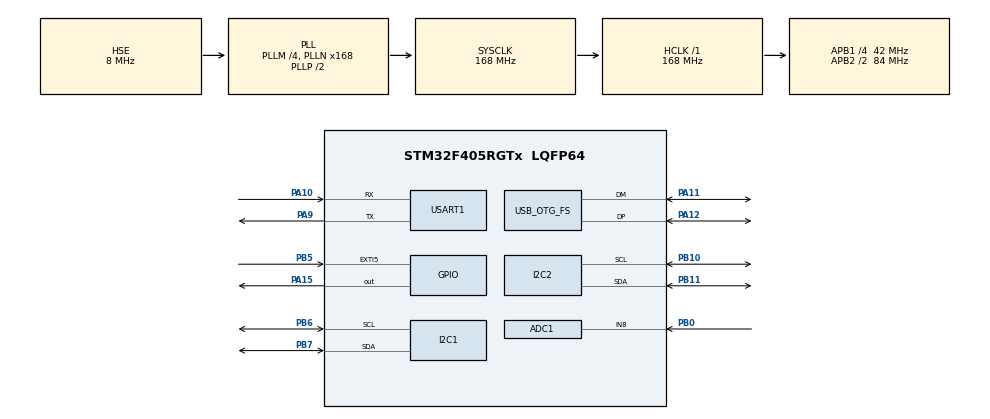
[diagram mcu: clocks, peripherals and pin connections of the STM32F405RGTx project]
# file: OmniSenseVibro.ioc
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ADC1.Channel-0\#ChannelRegularConversion=ADC_CHANNEL_8
ADC1.NbrOfConversionFlag=1
ADC1.Rank-0\#ChannelRegularConversion=1
ADC1.SamplingTime-0\#ChannelRegularConversion=ADC_SAMPLETIME_3CYCLES
ADC1.master=1
I2C1.I2C_Mode=I2C_Fast
Mcu.Family=STM32F4
Mcu.Name=STM32F405RGTx
Mcu.Package=LQFP64
NVIC.OTG_FS_IRQn=true\:0\:0\:false\:false\:true\:false\:true\:true
NVIC.PriorityGroup=NVIC_PRIORITYGROUP_4
PA10.Mode=Asynchronous
PA10.Signal=USART1_RX
PA11.Mode=Device_Only
PA11.Signal=USB_OTG_FS_DM
PA12.Mode=Device_Only
PA12.Signal=USB_OTG_FS_DP
PA13.Mode=Serial_Wire
PA13.Signal=SYS_JTMS-SWDIO
PA14.Mode=Serial_Wire
PA14.Signal=SYS_JTCK-SWCLK
PA15.Signal=GPIO_Output
PA9.Mode=Asynchronous
PA9.Signal=USART1_TX
PB0.Signal=ADCx_IN8
PB10.Mode=I2C
PB10.Signal=I2C2_SCL
PB11.Mode=I2C
PB11.Signal=I2C2_SDA
PB5.Signal=GPXTI5
PB6.Mode=I2C
PB6.Signal=I2C1_SCL
PB7.Mode=I2C
PB7.Signal=I2C1_SDA
PH0-OSC_IN.Mode=HSE-External-Oscillator
PH0-OSC_IN.Signal=RCC_OSC_IN
PH1-OSC_OUT.Mode=HSE-External-Oscillator
PH1-OSC_OUT.Signal=RCC_OSC_OUT
ProjectManager.HeapSize=0x200
ProjectManager.StackSize=0x400
ProjectManager.TargetToolchain=CMake
RCC.48MHZClocksFreq_Value=48000000
RCC.AHBFreq_Value=168000000
RCC.APB1CLKDivider=RCC_HCLK_DIV4
RCC.APB1Freq_Value=42000000
RCC.APB1TimFreq_Value=84000000
RCC.APB2CLKDivider=RCC_HCLK_DIV2
RCC.APB2Freq_Value=84000000
RCC.APB2TimFreq_Value=168000000
RCC.CortexFreq_Value=168000000
RCC.HCLKFreq_Value=168000000
RCC.HSE_VALUE=8000000
RCC.HSI_VALUE=16000000
RCC.LSE_VALUE=32768
RCC.PLLM=4
RCC.PLLN=168
RCC.PLLQ=7
RCC.SYSCLKFreq_VALUE=168000000
RCC.SYSCLKSource=RCC_SYSCLKSOURCE_PLLCLK
RCC.VCOOutputFreq_Value=336000000
SH.ADCx_IN8.0=ADC1_IN8,IN8
USART1.VirtualMode=VM_ASYNC
USB_DEVICE.CLASS_NAME_FS=CDC
USB_DEVICE.VirtualMode-CDC_FS=Cdc
USB_DEVICE.VirtualModeFS=Cdc_FS
USB_OTG_FS.VirtualMode=Device_Only
VP_USB_DEVICE_VS_USB_DEVICE_CDC_FS.Mode=CDC_FS
board=custom

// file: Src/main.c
/* USER CODE BEGIN Header */
/**
  ******************************************************************************
  * @file           : main.c
  * @brief          : Main program body
  ******************************************************************************
  * @attention
  *
  * Copyright (c) 2026 STMicroelectronics.
  * All rights reserved.
  *
  * This software is licensed under terms that can be found in the LICENSE file
  * in the root directory of this software component.
  * If no LICENSE file comes with this software, it is provided AS-IS.
  *
  ******************************************************************************
  */
/* USER CODE END Header */
#include "main.h"
#include "usb_device.h"
#include "usbd_cdc_if.h"

/* USER CODE BEGIN Includes */
#include "icm42688.h"
#include "ssd1306.h"
#include "ssd1306_fonts.h"
#include <math.h>
#include <stdio.h>
#include <string.h>
/* USER CODE END Includes */

/* USER CODE BEGIN PD */

/* Axis orientation glyph: bottom-right corner, bottom 16 rows of the screen. */
#define AXIS_INDICATOR_X      (SSD1306_WIDTH - AXIS_INDICATOR_WIDTH)
#define AXIS_INDICATOR_Y      (SSD1306_HEIGHT - AXIS_INDICATOR_HEIGHT)
#define AXIS_INDICATOR_WIDTH  23U
#define AXIS_INDICATOR_HEIGHT 16U
#define AXIS_INDICATOR_BYTES  ((AXIS_INDICATOR_WIDTH + 7U) / 8U)

/* Clamp OLED counters to 8 digits so the status lines stay clear of the glyph. */
#define CLAMP_COUNTER(value)                                                 \
  ((uint32_t)((value) > 99999999U ? 99999999UL : (uint32_t)(value)))

/* Boot screen memory figures. The linker reports the real sizes at link time;
   these are snapshots taken from the Debug build map output and must be
   refreshed after any build that changes code size:
     FLASH 59480 B -> 58 KB, RAM 93880 B -> 92 KB  (Debug, 2026-09-28) */
#define FLASH_TOTAL_KB 1024U
#define RAM_TOTAL_KB   128U
#define FLASH_USED_KB  58U
#define RAM_USED_KB    92U

/* USER CODE END PD */

ADC_HandleTypeDef hadc1;

I2C_HandleTypeDef hi2c1;
I2C_HandleTypeDef hi2c2;

UART_HandleTypeDef huart1;

/* USER CODE BEGIN PV */

#define ACCEL_SAMPLE_QUEUE_SIZE 8192U
#define CDC_PACKET_SIZE         256U
#define CDC_MAX_SAMPLES         16U
#define RMS_AVERAGE_WINDOW_COUNT 20U

static ICM42688_AccelSample accel_sample_queue[ACCEL_SAMPLE_QUEUE_SIZE];
static uint32_t accel_sequence_queue[ACCEL_SAMPLE_QUEUE_SIZE];
static volatile uint16_t accel_queue_head = 0U;
static volatile uint16_t accel_queue_tail = 0U;
static volatile uint32_t accel_queue_overruns = 0U;
static volatile uint32_t accel_i2c_failures = 0U;
static volatile uint32_t accel_samples_discarded = 0U;
static volatile uint32_t usb_packets_transmitted = 0U;
static volatile uint32_t usb_samples_transmitted = 0U;
static volatile uint32_t usb_busy_events = 0U;
static volatile uint32_t accel_sequence = 0U;
static uint8_t cdc_stream_buffers[2][CDC_PACKET_SIZE];
static uint8_t cdc_buffer_index = 0U;
static int64_t rms_sum[3] = {0, 0, 0};
static int64_t rms_square_sum[3] = {0, 0, 0};
static uint16_t rms_sample_count = 0U;
static float rms_history[RMS_AVERAGE_WINDOW_COUNT][3];
static float rms_history_sum[3] = {0.0f, 0.0f, 0.0f};
static uint16_t rms_history_count = 0U;
static uint16_t rms_history_index = 0U;

/* USER CODE END PV */

void SystemClock_Config(void);
static void MX_GPIO_Init(void);
static void MX_ADC1_Init(void);
static void MX_I2C1_Init(void);
static void MX_I2C2_Init(void);
static void MX_USART1_UART_Init(void);
/* USER CODE BEGIN PFP */

static void TransmitAccelSamples(void);
static void UpdateRmsDisplay(const ICM42688_AccelSample *samples,
                             uint16_t sample_count);
static void DrawAxisIndicator(void);
static void ShowBootScreen(const char *imu_text);

/* USER CODE END PFP */

/* USER CODE BEGIN 0 */

/**
  * @brief  Draw the sensor axis orientation glyph in the bottom-right corner.
  *
  * Tells the user how the displayed axes map onto the physical device: the X
  * axis runs along the long (128 px) edge of the display, the Y axis along the
  * short (64 px) edge. The two arrows cross at the sensor origin and point in
  * the positive direction of each axis.
  *
  *  ..............#.......   Y arrow tip
  *  .............###......
  *  ..............#.......
  *  ..............#..#...#   Y label
  *  ..............#..#...#
  *  ..............#...#.#.
  *  ....#...#.....#....#..
  *  .....#.#......#....#..
  *  ......#.......#.......   X label
  *  .....#.#......#.......
  *  ....#...#.....#.......
  *  ..............#.......
  *  ..#...........#.......   X arrow head
  *  .#################....   X axis line
  *  ..#...........#.......   origin (axis crossing)
  */
static void DrawAxisIndicator(void)
{
  /* Row-major, 1 bit per pixel; MSB of byte N is column N * 8. */
  static const uint8_t glyph[AXIS_INDICATOR_HEIGHT][AXIS_INDICATOR_BYTES] = {
      {0x00, 0x02, 0x00}, {0x00, 0x07, 0x00}, {0x00, 0x02, 0x00},
      {0x00, 0x02, 0x44}, {0x00, 0x02, 0x44}, {0x00, 0x02, 0x28},
      {0x08, 0x82, 0x10}, {0x05, 0x02, 0x10}, {0x02, 0x02, 0x00},
      {0x05, 0x02, 0x00}, {0x08, 0x82, 0x00}, {0x00, 0x02, 0x00},
      {0x20, 0x02, 0x00}, {0x7F, 0xFF, 0xC0}, {0x20, 0x02, 0x00},
      {0x00, 0x02, 0x00},
  };

  ssd1306_DrawBitmap(AXIS_INDICATOR_X, AXIS_INDICATOR_Y,
                     (const unsigned char *)&glyph[0][0], AXIS_INDICATOR_WIDTH,
                     AXIS_INDICATOR_HEIGHT, White);
}

/**
  * @brief  Draw the boot information screen.
  *
  * Shows the build stamp (__DATE__ / __TIME__), the linked memory footprint
  * (FLASH_USED_KB / RAM_USED_KB snapshots, see USER CODE BEGIN PD) and the
  * accelerometer connection result, together with the axis orientation glyph.
  *
  * @param  imu_text Text for the IMU status line, e.g. "checking...".
  */
static void ShowBootScreen(const char *imu_text)
{
  char line[24];

  ssd1306_Fill(Black);

  ssd1306_SetCursor(0, 0);
  ssd1306_WriteString("Booting up Vibro...", Font_6x8, White);

  ssd1306_SetCursor(0, 8);
  ssd1306_WriteString("Compiled at:", Font_6x8, White);

  snprintf(line, sizeof(line), "%s %s", __DATE__, __TIME__);
  ssd1306_SetCursor(0, 16);
  ssd1306_WriteString(line, Font_6x8, White);

  snprintf(line, sizeof(line), "Flash: %u/%uKB", (unsigned int)FLASH_USED_KB,
           (unsigned int)FLASH_TOTAL_KB);
  ssd1306_SetCursor(0, 24);
  ssd1306_WriteString(line, Font_6x8, White);

  snprintf(line, sizeof(line), "RAM: %u/%uKB", (unsigned int)RAM_USED_KB,
           (unsigned int)RAM_TOTAL_KB);
  ssd1306_SetCursor(0, 32);
  ssd1306_WriteString(line, Font_6x8, White);

  snprintf(line, sizeof(line), "IMU: %s", imu_text);
  ssd1306_SetCursor(0, 40);
  ssd1306_WriteString(line, Font_6x8, White);

  DrawAxisIndicator();
  ssd1306_UpdateScreen();
}

/* USER CODE END 0 */

int main(void)
{

  /* USER CODE BEGIN 1 */

  uint8_t imu_ok = 0U;

  /* USER CODE END 1 */

  /* MCU Configuration--------------------------------------------------------*/

  /* Reset of all peripherals, Initializes the Flash interface and the Systick. */
  HAL_Init();

  /* Configure the system clock */
  SystemClock_Config();

  /* Initialize all configured peripherals */
  MX_GPIO_Init();
  MX_ADC1_Init();
  MX_I2C1_Init();
  MX_I2C2_Init();
  MX_USART1_UART_Init();
  MX_USB_DEVICE_Init();
  /* USER CODE BEGIN 2 */

  ssd1306_Init();
  ShowBootScreen("checking...");

  imu_ok = (ICM42688_Init(&hi2c1) == HAL_OK);

  ShowBootScreen(imu_ok != 0U ? "detected" : "NOT DETECTED");
  HAL_Delay(3000);

  if (imu_ok == 0U)
  {
    Error_Handler();
  }

  /* Arm the ICM-42688 data-ready interrupt last: I2C1 is ready and the sensor
     has just been reset and configured, so no latched or spurious PB5 edge can
     trigger an accelerometer read on a busy/not-ready handle. */
  __HAL_GPIO_EXTI_CLEAR_IT(GPIO_PIN_5);
  HAL_NVIC_ClearPendingIRQ(EXTI9_5_IRQn);
  HAL_NVIC_SetPriority(EXTI9_5_IRQn, 5, 0);
  HAL_NVIC_EnableIRQ(EXTI9_5_IRQn);

  /* USER CODE END 2 */

  /* Infinite loop */
  /* USER CODE BEGIN WHILE */
  while (1)
  {
    TransmitAccelSamples();
    /* USER CODE END WHILE */

  }
}

void SystemClock_Config(void)
{
  RCC_OscInitTypeDef RCC_OscInitStruct = {0};
  RCC_ClkInitTypeDef RCC_ClkInitStruct = {0};

  /** Configure the main internal regulator output voltage
  */
  __HAL_RCC_PWR_CLK_ENABLE();
  __HAL_PWR_VOLTAGESCALING_CONFIG(PWR_REGULATOR_VOLTAGE_SCALE1);

  /** Initializes the RCC Oscillators according to the specified parameters
  * in the RCC_OscInitTypeDef structure.
  */
  RCC_OscInitStruct.OscillatorType = RCC_OSCILLATORTYPE_HSE;
  RCC_OscInitStruct.HSEState = RCC_HSE_ON;
  RCC_OscInitStruct.PLL.PLLState = RCC_PLL_ON;
  RCC_OscInitStruct.PLL.PLLSource = RCC_PLLSOURCE_HSE;
  RCC_OscInitStruct.PLL.PLLM = 4;
  RCC_OscInitStruct.PLL.PLLN = 168;
  RCC_OscInitStruct.PLL.PLLP = RCC_PLLP_DIV2;
  RCC_OscInitStruct.PLL.PLLQ = 7;
  if (HAL_RCC_OscConfig(&RCC_OscInitStruct) != HAL_OK)
  {
    Error_Handler();
  }

  /** Initializes the CPU, AHB and APB buses clocks
  */
  RCC_ClkInitStruct.ClockType = RCC_CLOCKTYPE_HCLK|RCC_CLOCKTYPE_SYSCLK
                              |RCC_CLOCKTYPE_PCLK1|RCC_CLOCKTYPE_PCLK2;
  RCC_ClkInitStruct.SYSCLKSource = RCC_SYSCLKSOURCE_PLLCLK;
  RCC_ClkInitStruct.AHBCLKDivider = RCC_SYSCLK_DIV1;
  RCC_ClkInitStruct.APB1CLKDivider = RCC_HCLK_DIV4;
  RCC_ClkInitStruct.APB2CLKDivider = RCC_HCLK_DIV2;

  if (HAL_RCC_ClockConfig(&RCC_ClkInitStruct, FLASH_LATENCY_5) != HAL_OK)
  {
    Error_Handler();
  }
}

static void MX_ADC1_Init(void)
{

  ADC_ChannelConfTypeDef sConfig = {0};

  /** Configure the global features of the ADC (Clock, Resolution, Data Alignment and number of conversion)
  */
  hadc1.Instance = ADC1;
  hadc1.Init.ClockPrescaler = ADC_CLOCK_SYNC_PCLK_DIV4;
  hadc1.Init.Resolution = ADC_RESOLUTION_12B;
  hadc1.Init.ScanConvMode = DISABLE;
  hadc1.Init.ContinuousConvMode = DISABLE;
  hadc1.Init.DiscontinuousConvMode = DISABLE;
  hadc1.Init.ExternalTrigConvEdge = ADC_EXTERNALTRIGCONVEDGE_NONE;
  hadc1.Init.ExternalTrigConv = ADC_SOFTWARE_START;
  hadc1.Init.DataAlign = ADC_DATAALIGN_RIGHT;
  hadc1.Init.NbrOfConversion = 1;
  hadc1.Init.DMAContinuousRequests = DISABLE;
  hadc1.Init.EOCSelection = ADC_EOC_SINGLE_CONV;
  if (HAL_ADC_Init(&hadc1) != HAL_OK)
  {
    Error_Handler();
  }

  /** Configure for the selected ADC regular channel its corresponding rank in the sequencer and its sample time.
  */
  sConfig.Channel = ADC_CHANNEL_8;
  sConfig.Rank = 1;
  sConfig.SamplingTime = ADC_SAMPLETIME_3CYCLES;
  if (HAL_ADC_ConfigChannel(&hadc1, &sConfig) != HAL_OK)
  {
    Error_Handler();
  }

}

static void MX_I2C1_Init(void)
{

  hi2c1.Instance = I2C1;
  hi2c1.Init.ClockSpeed = 400000;
  hi2c1.Init.DutyCycle = I2C_DUTYCYCLE_2;
  hi2c1.Init.OwnAddress1 = 0;
  hi2c1.Init.AddressingMode = I2C_ADDRESSINGMODE_7BIT;
  hi2c1.Init.DualAddressMode = I2C_DUALADDRESS_DISABLE;
  hi2c1.Init.OwnAddress2 = 0;
  hi2c1.Init.GeneralCallMode = I2C_GENERALCALL_DISABLE;
  hi2c1.Init.NoStretchMode = I2C_NOSTRETCH_DISABLE;
  if (HAL_I2C_Init(&hi2c1) != HAL_OK)
  {
    Error_Handler();
  }

}

static void MX_I2C2_Init(void)
{

  hi2c2.Instance = I2C2;
  hi2c2.Init.ClockSpeed = 100000;
  hi2c2.Init.DutyCycle = I2C_DUTYCYCLE_2;
  hi2c2.Init.OwnAddress1 = 0;
  hi2c2.Init.AddressingMode = I2C_ADDRESSINGMODE_7BIT;
  hi2c2.Init.DualAddressMode = I2C_DUALADDRESS_DISABLE;
  hi2c2.Init.OwnAddress2 = 0;
  hi2c2.Init.GeneralCallMode = I2C_GENERALCALL_DISABLE;
  hi2c2.Init.NoStretchMode = I2C_NOSTRETCH_DISABLE;
  if (HAL_I2C_Init(&hi2c2) != HAL_OK)
  {
    Error_Handler();
  }

}

static void MX_USART1_UART_Init(void)
{

  huart1.Instance = USART1;
  huart1.Init.BaudRate = 115200;
  huart1.Init.WordLength = UART_WORDLENGTH_8B;
  huart1.Init.StopBits = UART_STOPBITS_1;
  huart1.Init.Parity = UART_PARITY_NONE;
  huart1.Init.Mode = UART_MODE_TX_RX;
  huart1.Init.HwFlowCtl = UART_HWCONTROL_NONE;
  huart1.Init.OverSampling = UART_OVERSAMPLING_16;
  if (HAL_UART_Init(&huart1) != HAL_OK)
  {
    Error_Handler();
  }

}

static void MX_GPIO_Init(void)
{
  GPIO_InitTypeDef GPIO_InitStruct = {0};

  /* GPIO Ports Clock Enable */
  __HAL_RCC_GPIOH_CLK_ENABLE();
  __HAL_RCC_GPIOB_CLK_ENABLE();
  __HAL_RCC_GPIOA_CLK_ENABLE();

  /*Configure GPIO pin Output Level */
  HAL_GPIO_WritePin(GPIOA, GPIO_PIN_15, GPIO_PIN_RESET);

  /*Configure GPIO pin : PA15 */
  GPIO_InitStruct.Pin = GPIO_PIN_15;
  GPIO_InitStruct.Mode = GPIO_MODE_OUTPUT_PP;
  GPIO_InitStruct.Pull = GPIO_NOPULL;
  GPIO_InitStruct.Speed = GPIO_SPEED_FREQ_LOW;
  HAL_GPIO_Init(GPIOA, &GPIO_InitStruct);

  /*Configure GPIO pin : PB5 */
  GPIO_InitStruct.Pin = GPIO_PIN_5;
  GPIO_InitStruct.Mode = GPIO_MODE_IT_RISING;
  GPIO_InitStruct.Pull = GPIO_NOPULL;
  HAL_GPIO_Init(GPIOB, &GPIO_InitStruct);

  /* USER CODE BEGIN MX_GPIO_Init_2 */

  /* The EXTI9_5 NVIC interrupt is deliberately NOT enabled here: MX_GPIO_Init
     runs before MX_I2C1_Init() and before the IMU is configured, so any edge
     on PB5 in this window would run an I2C read on a not-ready handle. The
     interrupt is armed in USER CODE BEGIN 2 after ICM42688_Init() succeeds. */

  /* USER CODE END MX_GPIO_Init_2 */
}

/* USER CODE BEGIN 4 */

static void TransmitAccelSamples(void)
{
  if (CDC_IsHostReady() == 0U)
  {
    ICM42688_AccelSample rms_samples[CDC_MAX_SAMPLES];
    uint16_t sample_count = 0U;

    while (accel_queue_tail != accel_queue_head &&
           sample_count < CDC_MAX_SAMPLES)
    {
      rms_samples[sample_count] =
          accel_sample_queue[accel_queue_tail &
                             (ACCEL_SAMPLE_QUEUE_SIZE - 1U)];
      __disable_irq();
      accel_queue_tail = (uint16_t)((accel_queue_tail + 1U) &
                                    (ACCEL_SAMPLE_QUEUE_SIZE - 1U));
      __enable_irq();
      sample_count++;
    }

    if (sample_count != 0U)
    {
      accel_samples_discarded += sample_count;
      UpdateRmsDisplay(rms_samples, sample_count);
    }
    return;
  }

  while (accel_queue_tail != accel_queue_head)
  {
    uint16_t tail = accel_queue_tail;
    uint16_t head = accel_queue_head;
    uint16_t sample_count = 0U;
    uint16_t buffer_length = 0U;
    char line[40];
    ICM42688_AccelSample packet_samples[CDC_MAX_SAMPLES];
    uint8_t *cdc_stream_buffer = cdc_stream_buffers[cdc_buffer_index];

    while (tail != head && sample_count < CDC_MAX_SAMPLES)
    {
      ICM42688_AccelSample sample;
      uint16_t sample_tail = tail;
      sample = accel_sample_queue[sample_tail & (ACCEL_SAMPLE_QUEUE_SIZE - 1U)];
      uint32_t sequence = accel_sequence_queue[
          sample_tail & (ACCEL_SAMPLE_QUEUE_SIZE - 1U)];

      int written = snprintf(line, sizeof(line),
                             "S0,%lu,%d,%d,%d\r\n",
                             (unsigned long)sequence,
                             (int)sample.x,
                             (int)sample.y,
                             (int)sample.z);
      if (written <= 0 || (uint32_t)written >= CDC_PACKET_SIZE - buffer_length)
      {
        break;
      }
      packet_samples[sample_count] = sample;
      memcpy(&cdc_stream_buffer[buffer_length], line, (size_t)written);
      buffer_length = (uint16_t)(buffer_length + (uint16_t)written);
      sample_count = (uint16_t)(sample_count + 1U);
      tail = (uint16_t)((sample_tail + 1U) & (ACCEL_SAMPLE_QUEUE_SIZE - 1U));
    }

    if (sample_count == 0U)
    {
      break;
    }

    if (CDC_Transmit_FS(cdc_stream_buffer, buffer_length) == USBD_OK)
    {
      __disable_irq();
      accel_queue_tail = tail;
      __enable_irq();
      usb_packets_transmitted++;
      usb_samples_transmitted += sample_count;
      UpdateRmsDisplay(packet_samples, sample_count);
      cdc_buffer_index ^= 1U;
    }
    else
    {
      usb_busy_events++;
      break;
    }
  }
}

static void FormatRmsValue(char *buffer, uint16_t value_centi)
{
  if (value_centi >= 10000U)
  {
    snprintf(buffer, 6U, "%u", (unsigned int)((value_centi + 50U) / 100U));
  }
  else
  {
    snprintf(buffer, 6U, "%u.%02u",
             (unsigned int)(value_centi / 100U),
             (unsigned int)(value_centi % 100U));
  }
}

static void UpdateRmsDisplay(const ICM42688_AccelSample *samples,
                             uint16_t sample_count)
{
  char line[32];
  char current_text[6];
  char average_text[6];
  char peak_text[6];

  for (uint16_t index = 0U; index < sample_count; ++index)
  {
    const ICM42688_AccelSample *sample = &samples[index];
    int32_t values[3] = {sample->x, sample->y, sample->z};
    for (uint32_t axis = 0U; axis < 3U; ++axis)
    {
      rms_sum[axis] += values[axis];
      rms_square_sum[axis] += (int64_t)values[axis] * values[axis];
    }
    rms_sample_count = (uint16_t)(rms_sample_count + 1U);

    if (rms_sample_count == 500U)
    {
      float rms[3];
      float average[3];
      const float acceleration_scale = 9.80665f / 2048.0f;
      for (uint32_t axis = 0U; axis < 3U; ++axis)
      {
        float mean = (float)rms_sum[axis] / 500.0f;
        float variance = ((float)rms_square_sum[axis] / 500.0f) - (mean * mean);
        rms[axis] = sqrtf(fmaxf(variance, 0.0f)) * acceleration_scale;
        rms_history_sum[axis] -= rms_history[rms_history_index][axis];
        rms_history[rms_history_index][axis] = rms[axis];
        rms_history_sum[axis] += rms[axis];
        average[axis] = rms_history_sum[axis] /
            (float)((rms_history_count < RMS_AVERAGE_WINDOW_COUNT)
                        ? (rms_history_count + 1U)
                        : RMS_AVERAGE_WINDOW_COUNT);
        rms_sum[axis] = 0;
        rms_square_sum[axis] = 0;
      }
      if (rms_history_count < RMS_AVERAGE_WINDOW_COUNT)
      {
        rms_history_count++;
      }
      rms_history_index = (uint16_t)((rms_history_index + 1U) %
                                     RMS_AVERAGE_WINDOW_COUNT);
      rms_sample_count = 0U;

      ssd1306_Fill(Black);
      ssd1306_SetCursor(0, 0);
      ssd1306_WriteString("AX NOW AVG PEAK m/s2", Font_6x8, White);
      for (uint32_t axis = 0U; axis < 3U; ++axis)
      {
        const char axis_name = "XYZ"[axis];
        float peak = 0.0f;
        for (uint16_t history_index = 0U;
             history_index < rms_history_count;
             ++history_index)
        {
          if (rms_history[history_index][axis] > peak)
          {
            peak = rms_history[history_index][axis];
          }
        }
        uint16_t current_centi = (uint16_t)(rms[axis] * 100.0f + 0.5f);
        uint16_t peak_centi = (uint16_t)(peak * 100.0f + 0.5f);
        FormatRmsValue(current_text, current_centi);
        FormatRmsValue(peak_text, peak_centi);
        if (rms_history_count == RMS_AVERAGE_WINDOW_COUNT)
        {
          uint16_t average_centi =
              (uint16_t)(average[axis] * 100.0f + 0.5f);
          FormatRmsValue(average_text, average_centi);
          snprintf(line, sizeof(line), "%c:%s %s %s",
                   axis_name, current_text, average_text, peak_text);
        }
        else
        {
          snprintf(line, sizeof(line), "%c:%s --.-- %s",
                   axis_name, current_text, peak_text);
        }
        ssd1306_SetCursor(0, (uint8_t)((axis + 1U) * 8U));
        ssd1306_WriteString(line, Font_6x8, White);
      }
      snprintf(line, sizeof(line), "TX:%lu D:%lu",
               (unsigned long)CLAMP_COUNTER(usb_samples_transmitted),
               (unsigned long)CLAMP_COUNTER(accel_samples_discarded));
      ssd1306_SetCursor(0, 32);
      ssd1306_WriteString(line, Font_6x8, White);
      snprintf(line, sizeof(line), "QueOve:%lu I2CErr:%lu",
               (unsigned long)CLAMP_COUNTER(accel_queue_overruns),
               (unsigned long)CLAMP_COUNTER(accel_i2c_failures));
      ssd1306_SetCursor(0, 40);
      ssd1306_WriteString(line, Font_6x8, White);
      DrawAxisIndicator();
      ssd1306_UpdateScreen();
    }
  }
}

void HAL_GPIO_EXTI_Callback(uint16_t GPIO_Pin)
{
  if (GPIO_Pin == GPIO_PIN_5)
  {
    uint16_t head = accel_queue_head;
    uint16_t next_head = (uint16_t)((head + 1U) &
                                    (ACCEL_SAMPLE_QUEUE_SIZE - 1U));
    ICM42688_AccelSample sample;

    if (ICM42688_ReadAccel(&hi2c1, &sample) == HAL_OK)
    {
      uint32_t sequence = accel_sequence++;
      if (next_head == accel_queue_tail)
      {
        accel_queue_overruns++;
      }
      else
      {
        accel_sample_queue[head] = sample;
        accel_sequence_queue[head] = sequence;
        __DMB();
        accel_queue_head = next_head;
      }
    }
    else
    {
      accel_i2c_failures++;
    }
  }
}

/* USER CODE END 4 */

void Error_Handler(void)
{
  __disable_irq();
  while (1)
  {
  }
}
